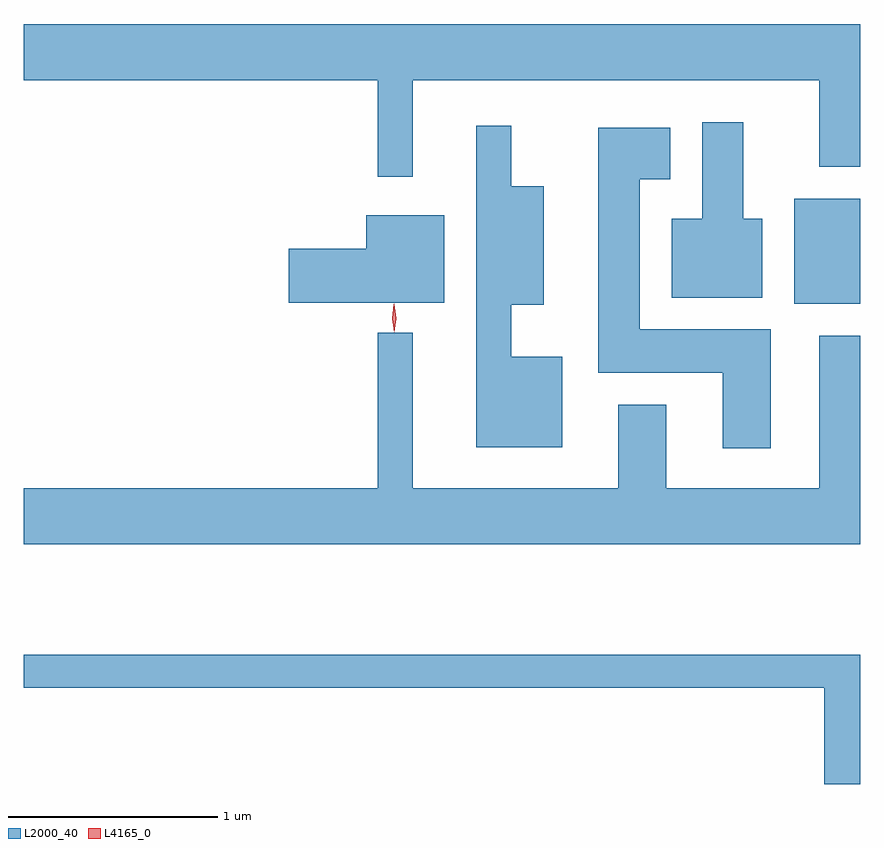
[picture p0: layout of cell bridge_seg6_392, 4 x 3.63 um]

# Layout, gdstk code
import gdstk
lib = gdstk.Library(unit=1e-6, precision=1e-09)
def R(c, l, rs):  # rectangles x0, y0, x1, y1
    for r in rs: c.add(gdstk.rectangle(r[:2], r[2:], *l))
def P(c, l, *ps):  # polygons
    for p in ps: c.add(gdstk.Polygon(p, *l))
L2000_40 = (2000, 40)
L4165_0 = (4165, 0)

bridge_seg6_392 = lib.new_cell('bridge_seg6_392')
R(bridge_seg6_392, L2000_40, [(884.451,1657.746,884.768,1658.249)])
P(bridge_seg6_392, L2000_40, [(882.629,1658.816),(884.571,1658.816),(884.571,1658.401),(884.768,1658.401),(884.768,1659.084),(880.768,1659.084),(880.768,1658.816),(882.461,1658.816),(882.461,1658.353),(882.629,1658.353)],
  [(884.299,1658.154),(884.209,1658.154),(884.209,1658.614),(884.011,1658.614),(884.011,1658.154),(883.866,1658.154),(883.866,1657.776),(884.299,1657.776)],
  [(883.344,1657.494),(883.099,1657.494),(883.099,1657.741),(883.254,1657.741),(883.254,1658.309),(883.099,1658.309),(883.099,1658.598),(882.931,1658.598),(882.931,1657.061),(883.344,1657.061)],
  [(884.339,1657.624),(883.714,1657.624),(883.714,1658.341),(883.859,1658.341),(883.859,1658.589),(883.516,1658.589),(883.516,1657.416),(884.111,1657.416),(884.111,1657.056),(884.339,1657.056)],
  [(882.779,1658.169),(882.406,1658.169),(882.406,1658.009),(882.036,1658.009),(882.036,1657.751),(882.779,1657.751)],
  [(884.768,1657.594),(884.571,1657.594),(884.571,1656.864),(883.839,1656.864),(883.839,1657.264),(883.611,1657.264),(883.611,1656.864),(882.629,1656.864),(882.629,1657.608),(882.461,1657.608),(882.461,1656.864),(880.768,1656.864),(880.768,1656.596),(884.768,1656.596)],
  [(884.768,1656.069),(880.768,1656.069),(880.768,1655.911),(884.596,1655.911),(884.596,1655.451),(884.768,1655.451)])
P(bridge_seg6_392, L4165_0, [(882.539,1657.61),(882.529,1657.678),(882.538,1657.745),(882.539,1657.746),(882.539,1657.745),(882.549,1657.678),(882.54,1657.61),(882.54,1657.61)],
  [(882.539,1657.613),(882.529,1657.676),(882.539,1657.74),(882.539,1657.74),(882.54,1657.74),(882.549,1657.676),(882.54,1657.613),(882.54,1657.613)])

lib.write_gds('bridge_seg6_392.gds')
